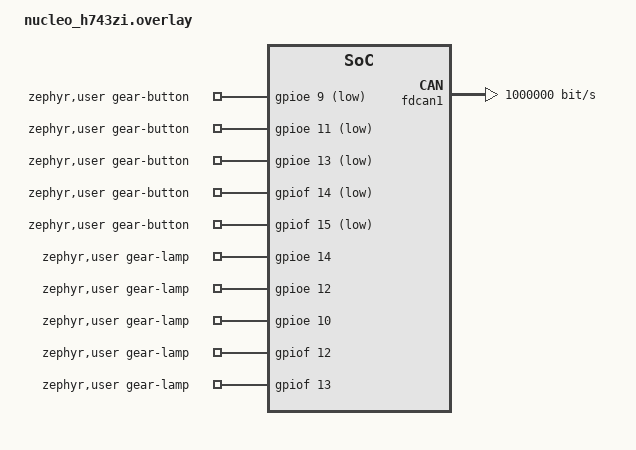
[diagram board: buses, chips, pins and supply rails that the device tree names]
/*
 * SPDX-License-Identifier: GPL-3.0-or-later
 *
 * The VDC on a NUCLEO-H743ZI (first revision, STM32H743ZI silicon rev. Y),
 * the evaluation board of the VDC until its own board exists
 * (docs/system_plan.md, section 5.3). Only the CAN bus is used: FDCAN1 on
 * PD0/PD1 (board default) to an external transceiver module, the log on the
 * ST-LINK virtual COM port. Not run on the board yet.
 *
 * Gear buttons R, N, 1, 2, 3 on the Zio connectors (to ground, internal
 * pull-ups): PE9, PE11, PE13, PF14, PF15. Their lamps (through a low-side
 * driver, docs/vdc_hardware_plan.md): PE14, PE12, PE10, PF12, PF13.
 * Tentative, chosen clear of the board's own functions.
 */

#include <zephyr/dt-bindings/gpio/gpio.h>

/ {
	zephyr,user {
		gear-button-gpios = <&gpioe 9 (GPIO_ACTIVE_LOW | GPIO_PULL_UP)>,
				    <&gpioe 11 (GPIO_ACTIVE_LOW | GPIO_PULL_UP)>,
				    <&gpioe 13 (GPIO_ACTIVE_LOW | GPIO_PULL_UP)>,
				    <&gpiof 14 (GPIO_ACTIVE_LOW | GPIO_PULL_UP)>,
				    <&gpiof 15 (GPIO_ACTIVE_LOW | GPIO_PULL_UP)>;
		gear-lamp-gpios = <&gpioe 14 GPIO_ACTIVE_HIGH>, <&gpioe 12 GPIO_ACTIVE_HIGH>,
				  <&gpioe 10 GPIO_ACTIVE_HIGH>, <&gpiof 12 GPIO_ACTIVE_HIGH>,
				  <&gpiof 13 GPIO_ACTIVE_HIGH>;
	};
};

/*
 * Silicon rev. Y: at most 400 MHz, as for the drive on this board
 * (apps/drive/boards/nucleo_h743zi.overlay). PLL2 Q stays at 80 MHz for FDCAN1.
 */
&pll {
	mul-n = <200>;
};

&rcc {
	clock-frequency = <DT_FREQ_M(400)>;
};

/* 1 Mbit/s in both phases, like the other nodes of the bus. */
&fdcan1 {
	bitrate = <1000000>;
	sample-point = <875>;
	bitrate-data = <1000000>;
	sample-point-data = <875>;
};
